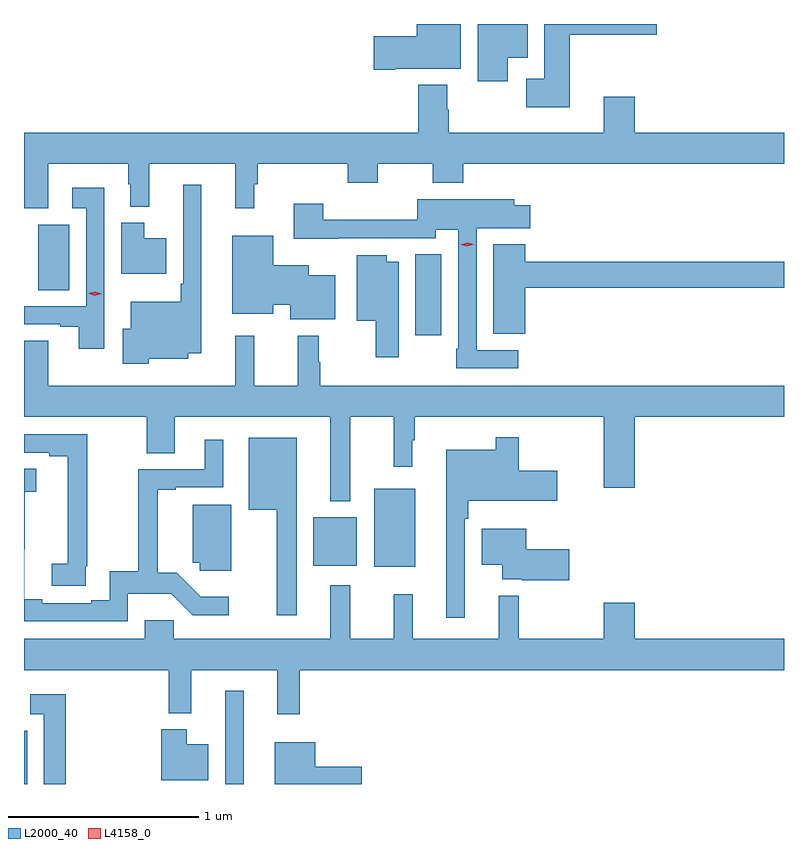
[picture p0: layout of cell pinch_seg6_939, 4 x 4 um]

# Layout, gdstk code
import gdstk
lib = gdstk.Library(unit=1e-6, precision=1e-09)
def R(c, l, rs):  # rectangles x0, y0, x1, y1
    for r in rs: c.add(gdstk.rectangle(r[:2], r[2:], *l))
def P(c, l, *ps):  # polygons
    for p in ps: c.add(gdstk.Polygon(p, *l))
L2000_40 = (2000, 40)
L4158_0 = (4158, 0)

pinch_seg6_939 = lib.new_cell('pinch_seg6_939')
R(pinch_seg6_939, L2000_40, [(293.826,917.432,293.842,917.712), (294.885,917.432,294.982,917.923), (295.67,918.575,295.885,918.985), (295.349,918.581,295.576,918.835), (295.886,919.794,296.023,920.219), (293.9,920.032,294.064,920.376)])
P(pinch_seg6_939, L2000_40, [(296.371,921.254),(296.476,921.254),(296.476,921.432),(296.213,921.432),(296.213,921.132),(296.371,921.132)],
  [(296.699,921.376),(297.157,921.376),(297.157,921.432),(296.564,921.432),(296.564,921.145),(296.469,921.145),(296.469,920.993),(296.699,920.993)],
  [(295.78,921.197),(296.125,921.197),(296.125,921.432),(295.892,921.432),(295.892,921.368),(295.668,921.368),(295.668,921.19),(295.78,921.19)],
  [(293.953,920.696),(294.375,920.696),(294.375,920.589),(294.386,920.589),(294.386,920.471),(294.485,920.471),(294.485,920.696),(294.938,920.696),(294.938,920.463),(295.037,920.463),(295.037,920.588),(295.055,920.588),(295.055,920.696),(295.529,920.696),(295.529,920.597),(295.689,920.597),(295.689,920.696),(295.978,920.696),(295.978,920.597),(296.138,920.597),(296.138,920.696),(297.826,920.696),(297.826,920.86),(297.04,920.86),(297.04,921.049),(296.876,921.049),(296.876,920.86),(296.061,920.86),(296.061,920.981),(296.053,920.981),(296.053,921.112),(295.901,921.112),(295.901,920.86),(293.826,920.86),(293.826,920.461),(293.953,920.461)],
  [(294.483,919.67),(294.691,919.67),(294.691,919.7),(294.76,919.7),(294.76,920.587),(294.663,920.587),(294.663,920.065),(294.651,920.065),(294.651,919.969),(294.389,919.969),(294.389,919.828),(294.347,919.828),(294.347,919.643),(294.483,919.643)],
  [(294.249,920.569),(294.081,920.569),(294.081,920.463),(294.153,920.463),(294.153,919.947),(293.826,919.947),(293.826,919.851),(294.017,919.851),(294.017,919.839),(294.113,919.839),(294.113,919.722),(294.249,919.722)],
  [(296.428,919.716),(296.208,919.716),(296.208,920.357),(296.491,920.357),(296.491,920.479),(296.407,920.479),(296.407,920.509),(295.896,920.509),(295.896,920.402),(295.4,920.402),(295.4,920.485),(295.247,920.485),(295.247,920.303),(295.481,920.303),(295.481,920.304),(295.992,920.304),(295.992,920.348),(296.112,920.348),(296.112,919.723),(296.1,919.723),(296.1,919.62),(296.428,919.62)],
  [(294.574,920.305),(294.46,920.305),(294.46,920.386),(294.338,920.386),(294.338,920.117),(294.574,920.117)],
  [(295.465,920.11),(295.324,920.11),(295.324,920.161),(295.138,920.161),(295.138,920.317),(294.923,920.317),(294.923,919.907),(295.138,919.907),(295.138,919.955),(295.226,919.955),(295.226,919.877),(295.465,919.877)],
  [(296.464,920.044),(297.826,920.044),(297.826,920.18),(296.464,920.18),(296.464,920.272),(296.297,920.272),(296.297,919.801),(296.464,919.801)],
  [(295.798,920.182),(295.735,920.182),(295.735,920.215),(295.577,920.215),(295.577,919.871),(295.676,919.871),(295.676,919.677),(295.798,919.677)],
  [(295.543,919.364),(295.771,919.364),(295.771,919.101),(295.87,919.101),(295.87,919.241),(295.882,919.241),(295.882,919.364),(296.876,919.364),(296.876,918.99),(297.04,918.99),(297.04,919.364),(297.826,919.364),(297.826,919.528),(295.385,919.528),(295.385,919.652),(295.378,919.652),(295.378,919.792),(295.267,919.792),(295.267,919.528),(295.038,919.528),(295.038,919.792),(294.937,919.792),(294.937,919.528),(293.953,919.528),(293.953,919.766),(293.826,919.766),(293.826,919.364),(294.472,919.364),(294.472,919.174),(294.619,919.174),(294.619,919.364),(295.439,919.364),(295.439,918.92),(295.543,918.92)],
  [(294.152,918.577),(294.158,918.577),(294.158,919.272),(293.826,919.272),(293.826,919.176),(293.96,919.176),(293.96,919.156),(294.056,919.156),(294.056,918.873),(294.055,918.873),(294.055,918.59),(293.973,918.59),(293.973,918.475),(294.152,918.475)],
  [(296.145,918.827),(296.165,918.827),(296.165,918.923),(296.632,918.923),(296.632,919.081),(296.431,919.081),(296.431,919.258),(296.31,919.258),(296.31,919.192),(296.048,919.192),(296.048,918.306),(296.145,918.306)],
  [(295.261,919.255),(295.01,919.255),(295.01,918.875),(295.157,918.875),(295.157,918.321),(295.261,918.321)],
  [(294.372,918.434),(294.601,918.434),(294.714,918.321),(294.904,918.321),(294.904,918.418),(294.755,918.418),(294.629,918.544),(294.53,918.544),(294.53,918.981),(294.625,918.981),(294.625,918.993),(294.874,918.993),(294.874,919.243),(294.776,919.243),(294.776,919.089),(294.427,919.089),(294.427,918.551),(294.276,918.551),(294.276,918.398),(294.179,918.398),(294.179,918.384),(293.923,918.384),(293.923,918.404),(293.827,918.404),(293.827,918.667),(293.829,918.667),(293.829,918.971),(293.89,918.971),(293.89,919.091),(293.826,919.091),(293.826,918.288),(294.372,918.288)],
  [(294.916,918.901),(294.713,918.901),(294.713,918.596),(294.75,918.596),(294.75,918.554),(294.916,918.554)],
  [(296.695,918.667),(296.47,918.667),(296.47,918.775),(296.234,918.775),(296.234,918.587),(296.342,918.587),(296.342,918.509),(296.446,918.509),(296.446,918.504),(296.695,918.504)],
  [(295.277,918.032),(297.826,918.032),(297.826,918.196),(297.04,918.196),(297.04,918.385),(296.876,918.385),(296.876,918.196),(296.431,918.196),(296.431,918.424),(296.324,918.424),(296.324,918.196),(295.871,918.196),(295.871,918.43),(295.771,918.43),(295.771,918.196),(295.543,918.196),(295.543,918.478),(295.439,918.478),(295.439,918.196),(294.613,918.196),(294.613,918.294),(294.461,918.294),(294.461,918.196),(293.826,918.196),(293.826,918.032),(294.589,918.032),(294.589,917.804),(294.707,917.804),(294.707,918.032),(295.16,918.032),(295.16,917.799),(295.277,917.799)],
  [(294.047,917.905),(293.859,917.905),(293.859,917.799),(293.931,917.799),(293.931,917.432),(294.047,917.432)],
  [(294.796,917.641),(294.682,917.641),(294.682,917.719),(294.548,917.719),(294.548,917.453),(294.796,917.453)],
  [(295.603,917.522),(295.36,917.522),(295.36,917.653),(295.145,917.653),(295.145,917.432),(295.603,917.432)])
P(pinch_seg6_939, L4158_0, [(296.16,920.261),(296.125,920.27),(296.125,920.27),(296.125,920.271),(296.16,920.281),(296.195,920.272),(296.195,920.272),(296.195,920.272)],
  [(294.199,920.003),(294.164,920.014),(294.164,920.015),(294.164,920.015),(294.2,920.023),(294.236,920.012),(294.236,920.012),(294.236,920.012)])

lib.write_gds('pinch_seg6_939.gds')
